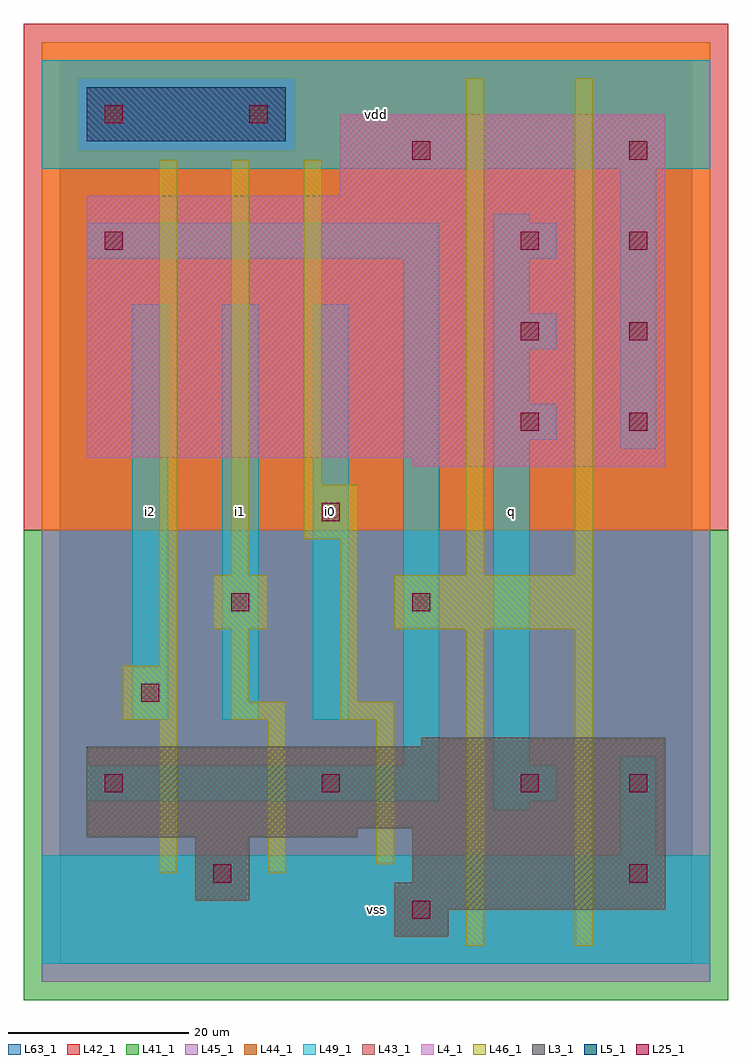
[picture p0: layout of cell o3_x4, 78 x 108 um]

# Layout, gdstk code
import gdstk
lib = gdstk.Library(unit=1e-6, precision=1e-09)
def R(c, l, rs):  # rectangles x0, y0, x1, y1
    for r in rs: c.add(gdstk.rectangle(r[:2], r[2:], *l))
def A(c, l, x, y, w, h, nx, ny, dx, dy):  # array of equal rectangles
    R(c, l, [(x+i*dx, y+j*dy, x+i*dx+w, y+j*dy+h) for i in range(nx) for j in range(ny)])
L3_1 = (3, 1)
L4_1 = (4, 1)
L5_1 = (5, 1)
L25_1 = (25, 1)
L41_1 = (41, 1)
L42_1 = (42, 1)
L43_1 = (43, 1)
L44_1 = (44, 1)
L45_1 = (45, 1)
L46_1 = (46, 1)
L49_1 = (49, 1)
L63_1 = (63, 1)

o3_x4 = lib.new_cell('o3_x4')
R(o3_x4, L3_1, [(37,3,43,6), (37,6,67,9), (15,7,21,14), (39,9,67,15), (3,14,33,15), (3,15,67,24), (40,24,67,25)])
R(o3_x4, L4_1, [(39,55,67,56), (3,56,67,85), (31,85,67,94)])
R(o3_x4, L5_1, [(3,91,25,97)])
A(o3_x4, L25_1, 51, 59, 2, 2, 1, 3, 0, 10)
A(o3_x4, L25_1, 63, 59, 2, 2, 1, 4, 0, 10)
R(o3_x4, L25_1, [(39,5,41,7), (17,9,19,11), (63,9,65,11), (5,19,7,21), (29,19,31,21), (51,19,53,21), (63,19,65,21), (9,29,11,31), (19,39,21,41), (39,39,41,41), (29,49,31,51), (5,79,7,81), (39,89,41,91), (5,93,7,95), (21,93,23,95)])
R(o3_x4, L41_1, [(-4,-4,74,48)])
R(o3_x4, L42_1, [(-4,48,74,104)])
R(o3_x4, L43_1, [(37,3,43,6), (37,6,67,9), (15,7,21,14), (39,9,67,15), (3,14,33,15), (3,15,67,24), (40,24,67,25), (39,55,67,56), (3,56,67,85), (31,85,67,94), (3,91,25,97)])
R(o3_x4, L44_1, [(-2,48,72,90), (-2,90,2,98), (26,90,72,98), (-2,98,72,102)])
R(o3_x4, L45_1, [(-2,-2,72,48), (2,90,26,98)])
R(o3_x4, L46_1, [(45,2,47,37), (57,2,59,37), (11,10,13,27), (23,10,25,27), (35,11,37,27), (7,27,13,33), (19,27,25,29), (31,27,37,29), (19,29,21,37), (31,29,33,47), (11,33,13,89), (17,37,23,43), (37,37,59,43), (19,43,21,89), (45,43,47,98), (57,43,59,98), (27,47,33,53), (27,53,29,89)])
A(o3_x4, L49_1, 8, 27, 4, 46, 3, 1, 10, 0)
A(o3_x4, L49_1, 48, 58, 7, 4, 1, 3, 0, 10)
R(o3_x4, L49_1, [(-2,0,72,12), (62,12,66,23), (48,17,52,18), (3,18,42,22), (48,18,55,22), (38,22,42,78), (48,22,52,58), (62,57,66,88), (48,62,52,68), (48,72,52,78), (3,78,42,82), (48,82,52,83), (-2,88,72,100)])
R(o3_x4, L63_1, [(0,0,70,100)])
o3_x4.add(gdstk.Label('i2', (10,50), layer=49, texttype=1))
o3_x4.add(gdstk.Label('i0', (30,50), layer=49, texttype=1))
o3_x4.add(gdstk.Label('i1', (20,50), layer=49, texttype=1))
o3_x4.add(gdstk.Label('vss', (35,6), layer=49, texttype=1))
o3_x4.add(gdstk.Label('q', (50,50), layer=49, texttype=1))
o3_x4.add(gdstk.Label('vdd', (35,94), layer=49, texttype=1))

lib.write_gds('o3_x4.gds')
